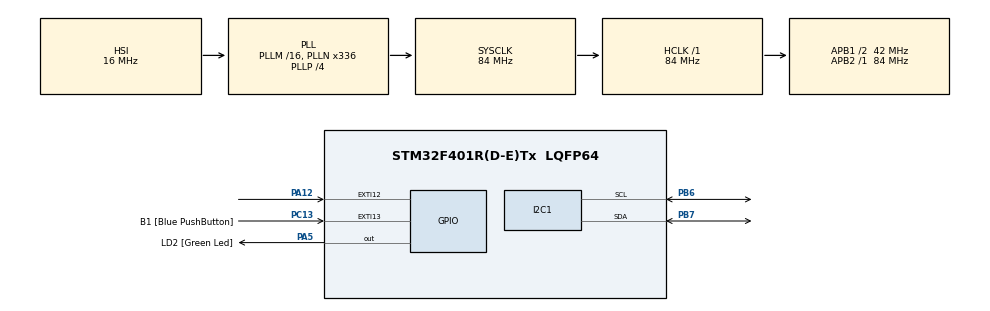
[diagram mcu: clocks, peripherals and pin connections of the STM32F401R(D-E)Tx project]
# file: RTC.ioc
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Mcu.Family=STM32F4
Mcu.Name=STM32F401R(D-E)Tx
Mcu.Package=LQFP64
NVIC.EXTI15_10_IRQn=true\:0\:0\:false\:false\:true\:true\:true\:true
NVIC.PriorityGroup=NVIC_PRIORITYGROUP_0
PA12.GPIO_ModeDefaultEXTI=GPIO_MODE_IT_RISING
PA12.Signal=GPXTI12
PA13.GPIO_Label=TMS
PA13.Signal=SYS_JTMS-SWDIO
PA14.GPIO_Label=TCK
PA14.Signal=SYS_JTCK-SWCLK
PA2.GPIO_Label=USART_TX
PA2.GPIO_Mode=GPIO_MODE_AF_PP
PA2.GPIO_PuPd=GPIO_NOPULL
PA2.GPIO_Speed=GPIO_SPEED_FREQ_LOW
PA2.Signal=USART2_TX
PA3.GPIO_Label=USART_RX
PA3.GPIO_Mode=GPIO_MODE_AF_PP
PA3.GPIO_PuPd=GPIO_NOPULL
PA3.GPIO_Speed=GPIO_SPEED_FREQ_LOW
PA3.Signal=USART2_RX
PA5.GPIO_Label=LD2 [Green Led]
PA5.GPIO_Mode=GPIO_MODE_OUTPUT_PP
PA5.GPIO_PuPd=GPIO_NOPULL
PA5.GPIO_Speed=GPIO_SPEED_FREQ_LOW
PA5.Signal=GPIO_Output
PB3.GPIO_Label=SWO
PB3.Signal=SYS_JTDO-SWO
PB6.Mode=I2C
PB6.Signal=I2C1_SCL
PB7.Mode=I2C
PB7.Signal=I2C1_SDA
PC13-ANTI_TAMP.GPIO_Label=B1 [Blue PushButton]
PC13-ANTI_TAMP.GPIO_ModeDefaultEXTI=GPIO_MODE_IT_FALLING
PC13-ANTI_TAMP.GPIO_PuPd=GPIO_NOPULL
PC13-ANTI_TAMP.Signal=GPXTI13
PC14-OSC32_IN.Signal=RCC_OSC32_IN
PC15-OSC32_OUT.Signal=RCC_OSC32_OUT
PH0\ -\ OSC_IN.Signal=RCC_OSC_IN
PH1\ -\ OSC_OUT.Signal=RCC_OSC_OUT
ProjectManager.HeapSize=0x200
ProjectManager.StackSize=0x400
ProjectManager.TargetToolchain=STM32CubeIDE
RCC.AHBFreq_Value=84000000
RCC.APB1CLKDivider=RCC_HCLK_DIV2
RCC.APB1Freq_Value=42000000
RCC.APB1TimFreq_Value=84000000
RCC.APB2Freq_Value=84000000
RCC.APB2TimFreq_Value=84000000
RCC.CortexFreq_Value=84000000
RCC.HCLKFreq_Value=84000000
RCC.HSE_VALUE=8000000
RCC.HSI_VALUE=16000000
RCC.LSE_VALUE=32768
RCC.PLLN=336
RCC.PLLP=RCC_PLLP_DIV4
RCC.PLLQ=7
RCC.SYSCLKFreq_VALUE=84000000
RCC.SYSCLKSource=RCC_SYSCLKSOURCE_PLLCLK
RCC.VCOOutputFreq_Value=336000000
board=NUCLEO-F401RE

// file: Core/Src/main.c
/* USER CODE BEGIN Header */
/**
  ******************************************************************************
  * @file           : main.c
  * @brief          : Main program body
  ******************************************************************************
  * @attention
  *
  * Copyright (c) 2024 STMicroelectronics.
  * All rights reserved.
  *
  * This software is licensed under terms that can be found in the LICENSE file
  * in the root directory of this software component.
  * If no LICENSE file comes with this software, it is provided AS-IS.
  *
  ******************************************************************************
  */
/* USER CODE END Header */
#include "main.h"

/* USER CODE BEGIN PM */

#define DS3231_ADDRESS 0xD0

/* USER CODE END PM */

I2C_HandleTypeDef hi2c1;

void SystemClock_Config(void);
static void MX_GPIO_Init(void);
static void MX_I2C1_Init(void);
/* USER CODE BEGIN PFP */

uint8_t decToBcd(int);
int bcdToDec(uint8_t);

void Get_Time (void);
void Set_Time (uint8_t , uint8_t, uint8_t, uint8_t, uint8_t, uint8_t, uint8_t);

/* USER CODE END PFP */

/* USER CODE BEGIN 0 */
typedef struct{
	uint8_t seconds;
	uint8_t minutes;
	uint8_t hour;
	uint8_t dayofweek;
	uint8_t dayofmonth;
	uint8_t month;
	uint8_t year;
}Time;
Time time ={0, 0, 0, 0, 0, 0, 0};

/* USER CODE END 0 */

int main(void)
{

  /* MCU Configuration--------------------------------------------------------*/

  /* Reset of all peripherals, Initializes the Flash interface and the Systick. */
  HAL_Init();

  /* Configure the system clock */
  SystemClock_Config();

  /* Initialize all configured peripherals */
  MX_GPIO_Init();
  MX_I2C1_Init();
  /* USER CODE BEGIN 2 */

  Set_Time(00, 57, 12, 5, 16, 2, 24);

  Get_Time();

  /* USER CODE END 2 */

  /* Infinite loop */
  while (1)
  {

  }
}

void SystemClock_Config(void)
{
  RCC_OscInitTypeDef RCC_OscInitStruct = {0};
  RCC_ClkInitTypeDef RCC_ClkInitStruct = {0};

  /** Configure the main internal regulator output voltage
  */
  __HAL_RCC_PWR_CLK_ENABLE();
  __HAL_PWR_VOLTAGESCALING_CONFIG(PWR_REGULATOR_VOLTAGE_SCALE2);

  /** Initializes the RCC Oscillators according to the specified parameters
  * in the RCC_OscInitTypeDef structure.
  */
  RCC_OscInitStruct.OscillatorType = RCC_OSCILLATORTYPE_HSI;
  RCC_OscInitStruct.HSIState = RCC_HSI_ON;
  RCC_OscInitStruct.HSICalibrationValue = RCC_HSICALIBRATION_DEFAULT;
  RCC_OscInitStruct.PLL.PLLState = RCC_PLL_ON;
  RCC_OscInitStruct.PLL.PLLSource = RCC_PLLSOURCE_HSI;
  RCC_OscInitStruct.PLL.PLLM = 16;
  RCC_OscInitStruct.PLL.PLLN = 336;
  RCC_OscInitStruct.PLL.PLLP = RCC_PLLP_DIV4;
  RCC_OscInitStruct.PLL.PLLQ = 7;
  if (HAL_RCC_OscConfig(&RCC_OscInitStruct) != HAL_OK)
  {
    Error_Handler();
  }

  /** Initializes the CPU, AHB and APB buses clocks
  */
  RCC_ClkInitStruct.ClockType = RCC_CLOCKTYPE_HCLK|RCC_CLOCKTYPE_SYSCLK
                              |RCC_CLOCKTYPE_PCLK1|RCC_CLOCKTYPE_PCLK2;
  RCC_ClkInitStruct.SYSCLKSource = RCC_SYSCLKSOURCE_PLLCLK;
  RCC_ClkInitStruct.AHBCLKDivider = RCC_SYSCLK_DIV1;
  RCC_ClkInitStruct.APB1CLKDivider = RCC_HCLK_DIV2;
  RCC_ClkInitStruct.APB2CLKDivider = RCC_HCLK_DIV1;

  if (HAL_RCC_ClockConfig(&RCC_ClkInitStruct, FLASH_LATENCY_2) != HAL_OK)
  {
    Error_Handler();
  }
}

static void MX_I2C1_Init(void)
{

  hi2c1.Instance = I2C1;
  hi2c1.Init.ClockSpeed = 100000;
  hi2c1.Init.DutyCycle = I2C_DUTYCYCLE_2;
  hi2c1.Init.OwnAddress1 = 0;
  hi2c1.Init.AddressingMode = I2C_ADDRESSINGMODE_7BIT;
  hi2c1.Init.DualAddressMode = I2C_DUALADDRESS_DISABLE;
  hi2c1.Init.OwnAddress2 = 0;
  hi2c1.Init.GeneralCallMode = I2C_GENERALCALL_DISABLE;
  hi2c1.Init.NoStretchMode = I2C_NOSTRETCH_DISABLE;
  if (HAL_I2C_Init(&hi2c1) != HAL_OK)
  {
    Error_Handler();
  }

}

static void MX_GPIO_Init(void)
{
  GPIO_InitTypeDef GPIO_InitStruct = {0};

  /* GPIO Ports Clock Enable */
  __HAL_RCC_GPIOC_CLK_ENABLE();
  __HAL_RCC_GPIOH_CLK_ENABLE();
  __HAL_RCC_GPIOA_CLK_ENABLE();
  __HAL_RCC_GPIOB_CLK_ENABLE();

  /*Configure GPIO pin Output Level */
  HAL_GPIO_WritePin(LD2_GPIO_Port, LD2_Pin, GPIO_PIN_RESET);

  /*Configure GPIO pin : B1_Pin */
  GPIO_InitStruct.Pin = B1_Pin;
  GPIO_InitStruct.Mode = GPIO_MODE_IT_FALLING;
  GPIO_InitStruct.Pull = GPIO_NOPULL;
  HAL_GPIO_Init(B1_GPIO_Port, &GPIO_InitStruct);

  /*Configure GPIO pins : USART_TX_Pin USART_RX_Pin */
  GPIO_InitStruct.Pin = USART_TX_Pin|USART_RX_Pin;
  GPIO_InitStruct.Mode = GPIO_MODE_AF_PP;
  GPIO_InitStruct.Pull = GPIO_NOPULL;
  GPIO_InitStruct.Speed = GPIO_SPEED_FREQ_LOW;
  GPIO_InitStruct.Alternate = GPIO_AF7_USART2;
  HAL_GPIO_Init(GPIOA, &GPIO_InitStruct);

  /*Configure GPIO pin : LD2_Pin */
  GPIO_InitStruct.Pin = LD2_Pin;
  GPIO_InitStruct.Mode = GPIO_MODE_OUTPUT_PP;
  GPIO_InitStruct.Pull = GPIO_NOPULL;
  GPIO_InitStruct.Speed = GPIO_SPEED_FREQ_LOW;
  HAL_GPIO_Init(LD2_GPIO_Port, &GPIO_InitStruct);

  /*Configure GPIO pin : PA12 */
  GPIO_InitStruct.Pin = GPIO_PIN_12;
  GPIO_InitStruct.Mode = GPIO_MODE_IT_RISING;
  GPIO_InitStruct.Pull = GPIO_NOPULL;
  HAL_GPIO_Init(GPIOA, &GPIO_InitStruct);

  /* EXTI interrupt init*/
  HAL_NVIC_SetPriority(EXTI15_10_IRQn, 0, 0);
  HAL_NVIC_EnableIRQ(EXTI15_10_IRQn);

}

/* USER CODE BEGIN 4 */

// Convert normal decimal numbers to binary coded decimal
uint8_t decToBcd(int val)
{
  return (uint8_t)( (val/10*16) + (val%10) );
}
// Convert binary coded decimal to normal decimal numbers

int bcdToDec(uint8_t val)
{
  return (int)( (val/16*10) + (val%16) );
}

void Set_Time (uint8_t sec, uint8_t min, uint8_t hour, uint8_t dow, uint8_t dom, uint8_t month, uint8_t year)
{
	uint8_t set_time[7];
	set_time[0] = decToBcd(sec);
	set_time[1] = decToBcd(min);
	set_time[2] = decToBcd(hour);
	set_time[3] = decToBcd(dow);
	set_time[4] = decToBcd(dom);
	set_time[5] = decToBcd(month);
	set_time[6] = decToBcd(year);

	HAL_I2C_Mem_Write(&hi2c1, DS3231_ADDRESS, 0x00, 1, set_time, 7, 1000);
}

void Get_Time (void)
{
	uint8_t get_time[7];
	HAL_I2C_Mem_Read(&hi2c1, DS3231_ADDRESS, 0x00, 1, get_time, 7, 1000);
	time.seconds = bcdToDec(get_time[0]);
	time.minutes = bcdToDec(get_time[1]);
	time.hour = bcdToDec(get_time[2]);
	time.dayofweek = bcdToDec(get_time[3]);
	time.dayofmonth = bcdToDec(get_time[4]);
	time.month = bcdToDec(get_time[5]);
	time.year = bcdToDec(get_time[6]);
}

/* USER CODE END 4 */

void Error_Handler(void)
{
  __disable_irq();
  while (1)
  {
  }
}
